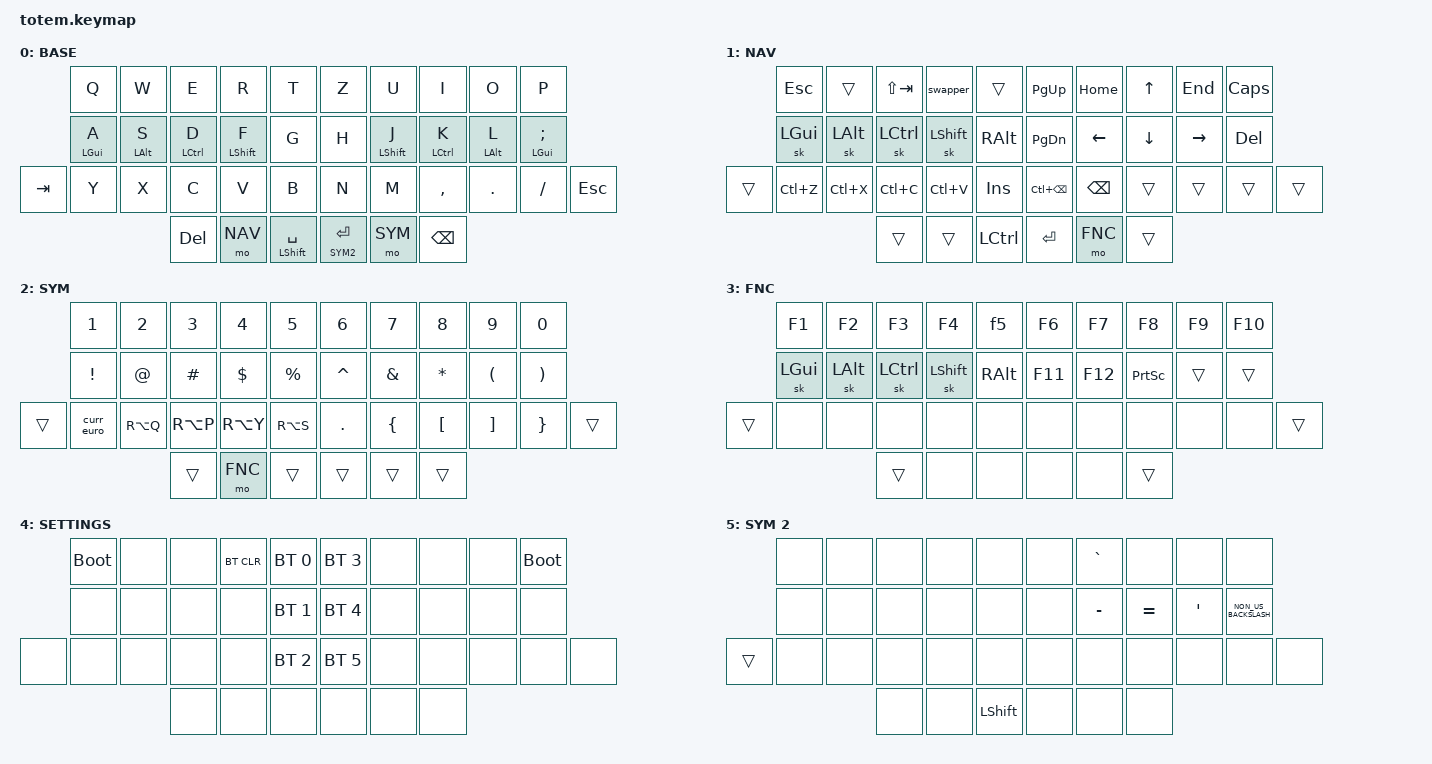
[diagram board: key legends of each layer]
//
//                                                        ▀▀▀▀▀     ▀▀▀▀▀          ▀▀█▀▀
//                                                        ▄▀▀▀▄  ▄  ▄▀▀▀▄  ▄  ▄▀▀▀▄  █  ▄▀▀▀▄
//                                                        █   █  █  █   █  █  █   █  █  █   █
//                                                         ▀▀▀   █   ▀▀▀   █   ▀▀▀   ▀   ▀▀▀
//                                                               █      ▄▄▄█▄▄▄    █   █  
//                                                               ▀      █  █  █     █▄█
//                                                             ▀▀▀▀▀    █  █  █      ▀
//                                                                      ▀  ▀  ▀
//
// ▄▄▄▄▄▄▄▄▄▄▄▄▄▄▄▄▄▄▄▄▄▄▄▄▄▄▄▄▄▄▄▄▄▄▄▄▄▄▄▄▄▄▄▄▄▄▄▄▄▄▄▄▄▄▄▄▄▄▄▄▄▄▄▄▄▄▄▄▄▄▄▄▄▄▄▄▄▄▄▄▄▄▄▄▄▄▄▄▄▄▄▄▄▄▄▄▄▄▄▄▄▄▄▄▄▄▄▄▄▄▄▄▄▄▄▄▄▄▄▄▄▄▄▄▄▄▄▄▄▄▄▄▄▄▄▄▄▄▄▄▄▄▄▄▄▄▄▄▄
       

#include <behaviors.dtsi>
#include <dt-bindings/zmk/keys.h>
#include <dt-bindings/zmk/bt.h>
#include <dt-bindings/zmk/outputs.h>

#define HOST_OS 1
#define ZMK_HELPER_KEEP_NATIVE 1

#include "zmk-helpers/helper.h"
#include "zmk-helpers/key-labels/totem.h"
#include "zmk-helpers/unicode-chars/german.dtsi"
#include "zmk-helpers/unicode-chars/currency.dtsi"

#define BASE 0
#define NAV  1
#define SYM  2
#define FNC  3
#define SETT 4
#define SYM2 5

// -----------------
/* Global defaults */

#define QUICK_TAP_MS 175

&sk {
    release-after-ms = <900>;
    quick-release;
};

&sl {
    ignore-modifiers;
};

&lt {
    flavor = "balanced";
    tapping-term-ms = <200>;
    quick-tap-ms = <QUICK_TAP_MS>;
};

&mt {
    flavor = "balanced";
    quick-tap-ms = <QUICK_TAP_MS>;
};


#define KEYS_L LT0 LT1 LT2 LT3 LT4 LM0 LM1 LM2 LM3 LM4 LB0 LB1 LB2 LB3 LB4  // left hand
#define KEYS_R RT0 RT1 RT2 RT3 RT4 RM0 RM1 RM2 RM3 RM4 RB0 RB1 RB2 RB3 RB4  // right hand
#define THUMBS LH2 LH1 LH0 RH0 RH1 RH2                                      // thumbs

#define MAKE_HRM(NAME, HOLD, TAP, TRIGGER_POS) \
    ZMK_BEHAVIOR(NAME, hold_tap, \
        flavor = "balanced"; \
        tapping-term-ms = <280>; \
        quick-tap-ms = <QUICK_TAP_MS>; \
        require-prior-idle-ms = <150>; \
        bindings = <HOLD>, <TAP>; \
        hold-trigger-key-positions = <TRIGGER_POS>; \
        hold-trigger-on-release; \
    )
MAKE_HRM(hml, &kp, &kp, KEYS_R THUMBS)  // left-hand HRMs
MAKE_HRM(hmr, &kp, &kp, KEYS_L THUMBS)  // right-hand HRMs

/ {
     combos {
            compatible = "zmk,combos";
            
            combo_settings {
                timeout-ms = <300>;
                key-positions = <30 31>;
                bindings = <&mo SETT>;
            };
    };

    behaviors {

        f5: f5 {
            compatible = "zmk,behavior-tap-dance";
            label = "F5";
            #binding-cells = <0>;
            tapping-term-ms = <175>;
            bindings = <&kp F5>, <&kp LS(LC(F5))>;
        };

        // Alt+Tab window switcher (tri-state / "swapper").
        // First tap holds LALT and sends TAB; further taps send TAB again.
        // ALT is released by: a key press outside ignored-key-positions,
        // activation of a layer outside ignored-layers, or the timeout.
        // Ignored keys let you steer the KWin task switcher without
        // dismissing it: the reverse-cycle key (LT2), the arrow cluster,
        // and the NAV thumb itself.
        swapper: swapper {
            compatible = "zmk,behavior-tri-state";
            label = "SWAPPER";
            #binding-cells = <0>;
            bindings = <&kt LALT>, <&kp TAB>, <&kt LALT>;
            ignored-key-positions = <LT1 LT2 RT2 RM1 RM2 RM3 LH1>;
            ignored-layers = <NAV>;
            timeout-ms = <1200>;
        };
    };

        keymap {
                compatible = "zmk,keymap";
// ▄▄▄▄▄▄▄▄▄▄▄▄▄▄▄▄▄▄▄▄▄▄▄▄▄▄▄▄▄▄▄▄▄▄▄▄▄▄▄▄▄▄▄▄▄▄▄▄▄▄▄▄▄▄▄▄▄▄▄▄▄▄▄▄▄▄▄▄▄▄▄▄▄▄▄▄▄▄▄▄▄▄▄▄▄▄▄▄▄▄▄▄▄▄▄▄▄▄▄▄▄▄▄▄▄▄▄▄▄▄▄▄▄▄▄▄▄▄▄▄▄▄▄▄▄▄▄▄▄▄▄▄▄▄▄▄▄▄▄▄▄▄▄▄▄▄▄▄▄

                base_layer {
// ┏━━━━━━━━━━━━━━━━━━━━━━━━━━━━━━━━━━━━━━━┓
label= "BASE";
display-name= "BASE";
// ┗━━━━━━━━━━━━━━━━━━━━━━━━━━━━━━━━━━━━━━━┛
//             ┏━━━━━━━━━━━┳━━━━━━━━━━━┳━━━━━━━━━━━┳━━━━━━━━━━━┳━━━━━━━━━━━┓   ┏━━━━━━━━━━━┳━━━━━━━━━━━┳━━━━━━━━━━━┳━━━━━━━━━━━┳━━━━━━━━━━━┓
//             ┃     Q     ┃     W     ┃     E     ┃     R     ┃     T     ┃   ┃     Z     ┃     U     ┃     I     ┃     O     ┃     P     ┃
//             ┣━━━━━━━━━━━╋━━━━━━━━━━━╋━━━━━━━━━━━╋━━━━━━━━━━━╋━━━━━━━━━━━┫   ┣━━━━━━━━━━━╋━━━━━━━━━━━╋━━━━━━━━━━━╋━━━━━━━━━━━╋━━━━━━━━━━━┫
//             ┃  GUI A    ┃  ALT S    ┃ CTRL D    ┃ SHFT F    ┃     G     ┃   ┃     H     ┃ SHFT J    ┃ CTRL K    ┃  ALT L    ┃ GUI ;     ┃
// ┏━━━━━━━━━━━╋━━━━━━━━━━━╋━━━━━━━━━━━╋━━━━━━━━━━━╋━━━━━━━━━━━╋━━━━━━━━━━━┫   ┣━━━━━━━━━━━╋━━━━━━━━━━━╋━━━━━━━━━━━╋━━━━━━━━━━━╋━━━━━━━━━━━╋━━━━━━━━━━━┓
// ┃   TAB     ┃     Y     ┃     X     ┃     C     ┃     V     ┃     B     ┃   ┃     N     ┃     M     ┃     ,     ┃     .     ┃     /     ┃   ESC     ┃
// ┗━━━━━━━━━━━┻━━━━━━━━━━━┻━━━━━━━━━━━╋━━━━━━━━━━━╋━━━━━━━━━━━╋━━━━━━━━━━━┫   ┣━━━━━━━━━━━╋━━━━━━━━━━━╋━━━━━━━━━━━╋━━━━━━━━━━━┻━━━━━━━━━━━┻━━━━━━━━━━━┛
//                                     ┃    DEL    ┃    NAV    ┃  SHFT SPC ┃   ┃ ENT SYM2  ┃    SYM    ┃   BSPC    ┃
//                                     ┗━━━━━━━━━━━┻━━━━━━━━━━━┻━━━━━━━━━━━┛   ┗━━━━━━━━━━━┻━━━━━━━━━━━┻━━━━━━━━━━━┛
 bindings = <
// ╷           ╷           ╷           ╷           ╷           ╷           ╷   ╷           ╷           ╷           ╷           ╷           ╷           ╷
                &kp Q       &kp W       &kp E       &kp R       &kp T           &kp Z       &kp U       &kp I       &kp O       &kp P
                &hml LGUI A &hml LALT S &hml LCTRL D &hml LSHFT F &kp G         &kp H       &hmr LSHFT J &hmr LCTRL K &hmr LALT L &hmr LGUI SEMI
    &kp TAB     &kp Y       &kp X       &kp C       &kp V       &kp B           &kp N       &kp M       &kp COMMA   &kp DOT     &kp FSLH    &kp ESC
                                        &kp DEL     &mo NAV     &mt LSHIFT SPACE &lt SYM2 ENTER   &mo SYM     &kp BSPC
                        >;
                };

// ▄▄▄▄▄▄▄▄▄▄▄▄▄▄▄▄▄▄▄▄▄▄▄▄▄▄▄▄▄▄▄▄▄▄▄▄▄▄▄▄▄▄▄▄▄▄▄▄▄▄▄▄▄▄▄▄▄▄▄▄▄▄▄▄▄▄▄▄▄▄▄▄▄▄▄▄▄▄▄▄▄▄▄▄▄▄▄▄▄▄▄▄▄▄▄▄▄▄▄▄▄▄▄▄▄▄▄▄▄▄▄▄▄▄▄▄▄▄▄▄▄▄▄▄▄▄▄▄▄▄▄▄▄▄▄▄▄▄▄▄▄▄▄▄▄▄▄▄▄


                nav_layer {
// ┏━━━━━━━━━━━━━━━━━━━━━━━━━━━━━━━━━━━━━━━┓
label= "NAV"                              ;
display-name= "NAV";
// ┗━━━━━━━━━━━━━━━━━━━━━━━━━━━━━━━━━━━━━━━┛
//             ┏━━━━━━━━━━━┳━━━━━━━━━━━┳━━━━━━━━━━━┳━━━━━━━━━━━┳━━━━━━━━━━━┓   ┏━━━━━━━━━━━┳━━━━━━━━━━━┳━━━━━━━━━━━┳━━━━━━━━━━━┳━━━━━━━━━━━┓
//             ┃   ESC     ┃           ┃  A-S-TAB  ┃  SWAPPER  ┃           ┃   ┃   PG UP   ┃   HOME    ┃    UP     ┃   END     ┃   CAPS    ┃
//             ┣━━━━━━━━━━━╋━━━━━━━━━━━╋━━━━━━━━━━━╋━━━━━━━━━━━╋━━━━━━━━━━━┫   ┣━━━━━━━━━━━╋━━━━━━━━━━━╋━━━━━━━━━━━╋━━━━━━━━━━━╋━━━━━━━━━━━┫
//             ┃  GUI      ┃   ALT     ┃   CTRL    ┃   SHIFT   ┃   RALT    ┃   ┃   PG DN   ┃   LEFT    ┃   DOWN    ┃  RIGHT    ┃   DEL     ┃
// ┏━━━━━━━━━━━╋━━━━━━━━━━━╋━━━━━━━━━━━╋━━━━━━━━━━━╋━━━━━━━━━━━╋━━━━━━━━━━━┫   ┣━━━━━━━━━━━╋━━━━━━━━━━━╋━━━━━━━━━━━╋━━━━━━━━━━━╋━━━━━━━━━━━╋━━━━━━━━━━━┓
// ┃           ┃  CUT(Z)   ┃  CUT(X)   ┃  COPY(C)  ┃  PASTE(V) ┃   INS     ┃   ┃ CUT BSPC  ┃   BSPC    ┃           ┃           ┃           ┃           ┃
// ┗━━━━━━━━━━━┻━━━━━━━━━━━┻━━━━━━━━━━━╋━━━━━━━━━━━╋━━━━━━━━━━━╋━━━━━━━━━━━┫   ┣━━━━━━━━━━━╋━━━━━━━━━━━╋━━━━━━━━━━━╋━━━━━━━━━━━┻━━━━━━━━━━━┻━━━━━━━━━━━┛
//                                     ┃           ┃           ┃   CTRL    ┃   ┃   ENTER   ┃    FNC    ┃           ┃
//                                     ┗━━━━━━━━━━━┻━━━━━━━━━━━┻━━━━━━━━━━━┛   ┗━━━━━━━━━━━┻━━━━━━━━━━━┻━━━━━━━━━━━┛
 bindings = <
// ╷           ╷           ╷           ╷           ╷           ╷           ╷   ╷           ╷           ╷           ╷           ╷           ╷           ╷
                &kp ESC     &trans     &kp LS(TAB) &swapper    &trans          &kp PG_UP    &kp HOME    &kp UP      &kp END     &kp CAPS
                &sk LGUI    &sk LALT   &sk LCTRL   &sk LSHIFT  &kp RALT        &kp PG_DN    &kp LEFT    &kp DOWN    &kp RIGHT   &kp DEL
    &trans      &kp LC(Z)   &kp LC(X)  &kp LC(C)   &kp LC(V)   &kp INS         &kp LC(BSPC) &kp BSPC    &trans      &trans      &trans       &trans      
                                        &trans     &trans      &kp LCTRL       &kp ENTER    &mo FNC     &trans
                        >;
                };

// ▄▄▄▄▄▄▄▄▄▄▄▄▄▄▄▄▄▄▄▄▄▄▄▄▄▄▄▄▄▄▄▄▄▄▄▄▄▄▄▄▄▄▄▄▄▄▄▄▄▄▄▄▄▄▄▄▄▄▄▄▄▄▄▄▄▄▄▄▄▄▄▄▄▄▄▄▄▄▄▄▄▄▄▄▄▄▄▄▄▄▄▄▄▄▄▄▄▄▄▄▄▄▄▄▄▄▄▄▄▄▄▄▄▄▄▄▄▄▄▄▄▄▄▄▄▄▄▄▄▄▄▄▄▄▄▄▄▄▄▄▄▄▄▄▄▄▄▄▄


                sym_layer {
// ┏━━━━━━━━━━━━━━━━━━━━━━━━━━━━━━━━━━━━━━━┓
label= "SYM"                               ;
display-name= "SYM";
// ┗━━━━━━━━━━━━━━━━━━━━━━━━━━━━━━━━━━━━━━━┛
//             ┏━━━━━━━━━━━┳━━━━━━━━━━━┳━━━━━━━━━━━┳━━━━━━━━━━━┳━━━━━━━━━━━┓   ┏━━━━━━━━━━━┳━━━━━━━━━━━┳━━━━━━━━━━━┳━━━━━━━━━━━┳━━━━━━━━━━━┓
//             ┃     1     ┃     2     ┃     3     ┃     4     ┃     5     ┃   ┃     6     ┃     7     ┃     8     ┃     9     ┃     0     ┃
//             ┣━━━━━━━━━━━╋━━━━━━━━━━━╋━━━━━━━━━━━╋━━━━━━━━━━━╋━━━━━━━━━━━┫   ┣━━━━━━━━━━━╋━━━━━━━━━━━╋━━━━━━━━━━━╋━━━━━━━━━━━╋━━━━━━━━━━━┫
//             ┃     !     ┃     @     ┃     #     ┃     $     ┃     %     ┃   ┃     ^     ┃     &     ┃     *     ┃     (     ┃     )     ┃
// ┏━━━━━━━━━━━╋━━━━━━━━━━━╋━━━━━━━━━━━╋━━━━━━━━━━━╋━━━━━━━━━━━╋━━━━━━━━━━━┫   ┣━━━━━━━━━━━╋━━━━━━━━━━━╋━━━━━━━━━━━╋━━━━━━━━━━━╋━━━━━━━━━━━╋━━━━━━━━━━━┓
// ┃           ┃    €      ┃    Ü(Q)   ┃    Ö(P)   ┃    Ä(Y)   ┃    ß(S)   ┃   ┃     .     ┃     {     ┃     [     ┃     ]     ┃     }     ┃           ┃
// ┗━━━━━━━━━━━┻━━━━━━━━━━━┻━━━━━━━━━━━╋━━━━━━━━━━━╋━━━━━━━━━━━╋━━━━━━━━━━━┫   ┣━━━━━━━━━━━╋━━━━━━━━━━━╋━━━━━━━━━━━╋━━━━━━━━━━━┻━━━━━━━━━━━┻━━━━━━━━━━━┛
//                                     ┃           ┃    FNC    ┃           ┃   ┃           ┃           ┃           ┃
//                                     ┗━━━━━━━━━━━┻━━━━━━━━━━━┻━━━━━━━━━━━┛   ┗━━━━━━━━━━━┻━━━━━━━━━━━┻━━━━━━━━━━━┛
 bindings = <
// ╷           ╷           ╷           ╷           ╷           ╷           ╷   ╷           ╷           ╷           ╷           ╷           ╷           ╷
                &kp N1      &kp N2      &kp N3      &kp N4      &kp N5          &kp N6      &kp N7      &kp N8      &kp N9      &kp N0
                &kp EXCL    &kp AT      &kp HASH    &kp DLLR    &kp PRCNT       &kp CARET   &kp AMPS    &kp ASTRK   &kp LPAR    &kp RPAR
    &trans      &curr_euro  &kp RA(Q)   &kp RA(P)   &kp RA(Y)   &kp RA(S)       &kp DOT     &kp LBRC    &kp LBKT    &kp RBKT    &kp RBRC    &trans      
                                        &trans      &mo FNC     &trans        &trans      &trans      &trans      
                        >;
                };

// ▄▄▄▄▄▄▄▄▄▄▄▄▄▄▄▄▄▄▄▄▄▄▄▄▄▄▄▄▄▄▄▄▄▄▄▄▄▄▄▄▄▄▄▄▄▄▄▄▄▄▄▄▄▄▄▄▄▄▄▄▄▄▄▄▄▄▄▄▄▄▄▄▄▄▄▄▄▄▄▄▄▄▄▄▄▄▄▄▄▄▄▄▄▄▄▄▄▄▄▄▄▄▄▄▄▄▄▄▄▄▄▄▄▄▄▄▄▄▄▄▄▄▄▄▄▄▄▄▄▄▄▄▄▄▄▄▄▄▄▄▄▄▄▄▄▄▄▄▄


                fnc_layer {
// ┏━━━━━━━━━━━━━━━━━━━━━━━━━━━━━━━━━━━━━━━┓
label= "FNC";
display-name= "FNC";
// ┗━━━━━━━━━━━━━━━━━━━━━━━━━━━━━━━━━━━━━━━┛
//             ┏━━━━━━━━━━━┳━━━━━━━━━━━┳━━━━━━━━━━━┳━━━━━━━━━━━┳━━━━━━━━━━━┓   ┏━━━━━━━━━━━┳━━━━━━━━━━━┳━━━━━━━━━━━┳━━━━━━━━━━━┳━━━━━━━━━━━┓
//             ┃    F1     ┃    F2     ┃    F3     ┃    F4     ┃    F5     ┃   ┃    F6     ┃    F7     ┃    F8     ┃    F9     ┃   F10     ┃
//             ┣━━━━━━━━━━━╋━━━━━━━━━━━╋━━━━━━━━━━━╋━━━━━━━━━━━╋━━━━━━━━━━━┫   ┣━━━━━━━━━━━╋━━━━━━━━━━━╋━━━━━━━━━━━╋━━━━━━━━━━━╋━━━━━━━━━━━┫
//             ┃  GUI      ┃   ALT     ┃   CTRL    ┃   SHIFT   ┃   RALT    ┃   ┃   F11     ┃   F12     ┃  PRINT    ┃           ┃           ┃
// ┏━━━━━━━━━━━╋━━━━━━━━━━━╋━━━━━━━━━━━╋━━━━━━━━━━━╋━━━━━━━━━━━╋━━━━━━━━━━━┫   ┣━━━━━━━━━━━╋━━━━━━━━━━━╋━━━━━━━━━━━╋━━━━━━━━━━━╋━━━━━━━━━━━╋━━━━━━━━━━━┓
// ┃           ┃           ┃           ┃           ┃           ┃           ┃   ┃           ┃           ┃           ┃           ┃           ┃           ┃
// ┗━━━━━━━━━━━┻━━━━━━━━━━━┻━━━━━━━━━━━╋━━━━━━━━━━━╋━━━━━━━━━━━╋━━━━━━━━━━━┫   ┣━━━━━━━━━━━╋━━━━━━━━━━━╋━━━━━━━━━━━╋━━━━━━━━━━━┻━━━━━━━━━━━┻━━━━━━━━━━━┛
//                                     ┃           ┃           ┃           ┃   ┃           ┃           ┃           ┃
//                                     ┗━━━━━━━━━━━┻━━━━━━━━━━━┻━━━━━━━━━━━┛   ┗━━━━━━━━━━━┻━━━━━━━━━━━┻━━━━━━━━━━━┛
 bindings = <
// ╷           ╷           ╷           ╷           ╷           ╷           ╷   ╷           ╷           ╷           ╷           ╷           ╷           ╷
                &kp F1      &kp F2      &kp F3      &kp F4      &f5             &kp F6      &kp F7      &kp F8      &kp F9      &kp F10
                &sk LGUI    &sk LALT    &sk LCTRL   &sk LSHIFT  &kp RALT        &kp F11     &kp F12     &kp PRINTSCREEN &trans    &trans
    &trans      &none       &none       &none       &none       &none           &none       &none       &none        &none       &none       &trans      
                                        &trans      &none       &none           &none       &none       &trans      
                        >;
                };

// ▄▄▄▄▄▄▄▄▄▄▄▄▄▄▄▄▄▄▄▄▄▄▄▄▄▄▄▄▄▄▄▄▄▄▄▄▄▄▄▄▄▄▄▄▄▄▄▄▄▄▄▄▄▄▄▄▄▄▄▄▄▄▄▄▄▄▄▄▄▄▄▄▄▄▄▄▄▄▄▄▄▄▄▄▄▄▄▄▄▄▄▄▄▄▄▄▄▄▄▄▄▄▄▄▄▄▄▄▄▄▄▄▄▄▄▄▄▄▄▄▄▄▄▄▄▄▄▄▄▄▄▄▄▄▄▄▄▄▄▄▄▄▄▄▄▄▄▄▄


                sett_layer {
// ┏━━━━━━━━━━━━━━━━━━━━━━━━━━━━━━━━━━━━━━━┓
label= "SETT"                             ;
display-name= "SETTINGS";
// ┗━━━━━━━━━━━━━━━━━━━━━━━━━━━━━━━━━━━━━━━┛
//             ┏━━━━━━━━━━━┳━━━━━━━━━━━┳━━━━━━━━━━━┳━━━━━━━━━━━┳━━━━━━━━━━━┓   ┏━━━━━━━━━━━┳━━━━━━━━━━━┳━━━━━━━━━━━┳━━━━━━━━━━━┳━━━━━━━━━━━┓
//             ┃ BOOTLOAD  ┃           ┃           ┃ BT CLEAR  ┃ BT SEL 0  ┃   ┃ BT SEL 3  ┃           ┃           ┃           ┃ BOOTLOAD  ┃
//             ┣━━━━━━━━━━━╋━━━━━━━━━━━╋━━━━━━━━━━━╋━━━━━━━━━━━╋━━━━━━━━━━━┫   ┣━━━━━━━━━━━╋━━━━━━━━━━━╋━━━━━━━━━━━╋━━━━━━━━━━━╋━━━━━━━━━━━┫
//             ┃           ┃           ┃           ┃           ┃ BT SEL 1  ┃   ┃ BT SEL 4  ┃           ┃           ┃           ┃           ┃
// ┏━━━━━━━━━━━╋━━━━━━━━━━━╋━━━━━━━━━━━╋━━━━━━━━━━━╋━━━━━━━━━━━╋━━━━━━━━━━━┫   ┣━━━━━━━━━━━╋━━━━━━━━━━━╋━━━━━━━━━━━╋━━━━━━━━━━━╋━━━━━━━━━━━╋━━━━━━━━━━━┓
// ┃           ┃           ┃           ┃           ┃           ┃ BT SEL 2  ┃   ┃ BT SEL 5  ┃           ┃           ┃           ┃           ┃           ┃
// ┗━━━━━━━━━━━┻━━━━━━━━━━━┻━━━━━━━━━━━╋━━━━━━━━━━━╋━━━━━━━━━━━╋━━━━━━━━━━━┫   ┣━━━━━━━━━━━╋━━━━━━━━━━━╋━━━━━━━━━━━╋━━━━━━━━━━━┻━━━━━━━━━━━┻━━━━━━━━━━━┛
//                                     ┃           ┃           ┃           ┃   ┃           ┃           ┃           ┃
//                                     ┗━━━━━━━━━━━┻━━━━━━━━━━━┻━━━━━━━━━━━┛   ┗━━━━━━━━━━━┻━━━━━━━━━━━┻━━━━━━━━━━━┛
 bindings = <
// ╷           ╷           ╷           ╷           ╷           ╷           ╷   ╷           ╷           ╷           ╷           ╷           ╷           ╷
                &bootloader &none       &none       &bt BT_CLR  &bt BT_SEL 0    &bt BT_SEL 3 &none       &none    &none       &bootloader
                &none       &none       &none       &none       &bt BT_SEL 1    &bt BT_SEL 4 &none       &none       &none       &none
    &none       &none       &none       &none       &none       &bt BT_SEL 2    &bt BT_SEL 5 &none       &none       &none       &none       &none      
                                        &none       &none       &none           &none       &none       &none      
                        >;
                };

// ▄▄▄▄▄▄▄▄▄▄▄▄▄▄▄▄▄▄▄▄▄▄▄▄▄▄▄▄▄▄▄▄▄▄▄▄▄▄▄▄▄▄▄▄▄▄▄▄▄▄▄▄▄▄▄▄▄▄▄▄▄▄▄▄▄▄▄▄▄▄▄▄▄▄▄▄▄▄▄▄▄▄▄▄▄▄▄▄▄▄▄▄▄▄▄▄▄▄▄▄▄▄▄▄▄▄▄▄▄▄▄▄▄▄▄▄▄▄▄▄▄▄▄▄▄▄▄▄▄▄▄▄▄▄▄▄▄▄▄▄▄▄▄▄▄▄▄▄▄

                sym2_layer {
// ┏━━━━━━━━━━━━━━━━━━━━━━━━━━━━━━━━━━━━━━━┓
label= "SYM2"                               ;
display-name= "SYM 2";
// ┗━━━━━━━━━━━━━━━━━━━━━━━━━━━━━━━━━━━━━━━┛
//             ┏━━━━━━━━━━━┳━━━━━━━━━━━┳━━━━━━━━━━━┳━━━━━━━━━━━┳━━━━━━━━━━━┓   ┏━━━━━━━━━━━┳━━━━━━━━━━━┳━━━━━━━━━━━┳━━━━━━━━━━━┳━━━━━━━━━━━┓
//             ┃           ┃           ┃           ┃           ┃           ┃   ┃           ┃     `     ┃           ┃           ┃           ┃
//             ┣━━━━━━━━━━━╋━━━━━━━━━━━╋━━━━━━━━━━━╋━━━━━━━━━━━╋━━━━━━━━━━━┫   ┣━━━━━━━━━━━╋━━━━━━━━━━━╋━━━━━━━━━━━╋━━━━━━━━━━━╋━━━━━━━━━━━┫
//             ┃           ┃           ┃           ┃           ┃           ┃   ┃           ┃     -     ┃     =     ┃     '     ┃     \     ┃
// ┏━━━━━━━━━━━╋━━━━━━━━━━━╋━━━━━━━━━━━╋━━━━━━━━━━━╋━━━━━━━━━━━╋━━━━━━━━━━━┫   ┣━━━━━━━━━━━╋━━━━━━━━━━━╋━━━━━━━━━━━╋━━━━━━━━━━━╋━━━━━━━━━━━╋━━━━━━━━━━━┓
// ┃           ┃           ┃           ┃           ┃           ┃           ┃   ┃           ┃           ┃           ┃           ┃           ┃           ┃
// ┗━━━━━━━━━━━┻━━━━━━━━━━━┻━━━━━━━━━━━╋━━━━━━━━━━━╋━━━━━━━━━━━╋━━━━━━━━━━━┫   ┣━━━━━━━━━━━╋━━━━━━━━━━━╋━━━━━━━━━━━╋━━━━━━━━━━━┻━━━━━━━━━━━┻━━━━━━━━━━━┛
//                                     ┃           ┃           ┃           ┃   ┃           ┃           ┃           ┃
//                                     ┗━━━━━━━━━━━┻━━━━━━━━━━━┻━━━━━━━━━━━┛   ┗━━━━━━━━━━━┻━━━━━━━━━━━┻━━━━━━━━━━━┛
 bindings = <
// ╷           ╷           ╷           ╷           ╷           ╷           ╷   ╷           ╷           ╷           ╷           ╷           ╷           ╷
                &none       &none      &none        &none       &none            &none      &kp GRAVE   &none        &none      &none
                &none       &none      &none        &none       &none            &none      &kp MINUS   &kp EQUAL    &kp SINGLE_QUOTE   &kp NON_US_BACKSLASH
    &trans      &none       &none      &none        &none       &none            &none      &none       &none        &none      &none        &none
                                        &none       &none       &kp LSHIFT            &none      &none       &none
                        >;
                };

// ▄▄▄▄▄▄▄▄▄▄▄▄▄▄▄▄▄▄▄▄▄▄▄▄▄▄▄▄▄▄▄▄▄▄▄▄▄▄▄▄▄▄▄▄▄▄▄▄▄▄▄▄▄▄▄▄▄▄▄▄▄▄▄▄▄▄▄▄▄▄▄▄▄▄▄▄▄▄▄▄▄▄▄▄▄▄▄▄▄▄▄▄▄▄▄▄▄▄▄▄▄▄▄▄▄▄▄▄▄▄▄▄▄▄▄▄▄▄▄▄▄▄▄▄▄▄▄▄▄▄▄▄▄▄▄▄▄▄▄▄▄▄▄▄▄▄▄▄▄

        };
};
